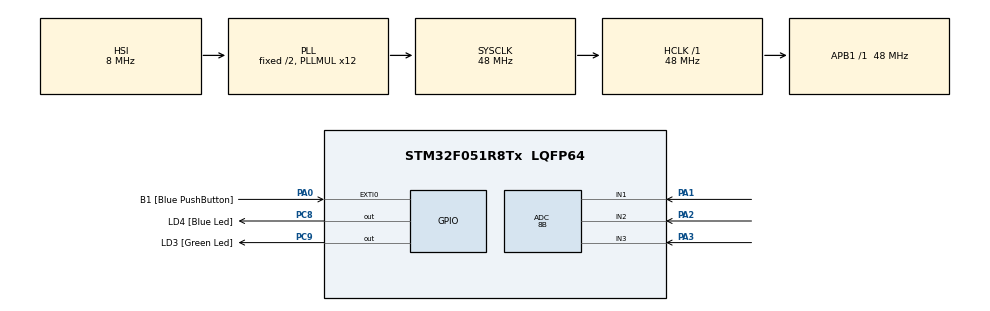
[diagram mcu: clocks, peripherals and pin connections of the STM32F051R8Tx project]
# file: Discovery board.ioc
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ADC.ClockPrescaler=ADC_CLOCK_SYNC_PCLK_DIV4
ADC.ContinuousConvMode=ENABLE
ADC.DMAContinuousRequests=ENABLE
ADC.DataAlign=ADC_DATAALIGN_RIGHT
ADC.DiscontinuousConvMode=DISABLE
ADC.EOCSelection=ADC_EOC_SINGLE_CONV
ADC.EnableAnalogWatchDog=false
ADC.ExternalTrigConv=ADC_SOFTWARE_START
ADC.ExternalTrigConvEdge=ADC_EXTERNALTRIGCONVEDGE_NONE
ADC.LowPowerAutoPowerOff=DISABLE
ADC.LowPowerAutoWait=DISABLE
ADC.Overrun=ADC_OVR_DATA_PRESERVED
ADC.Resolution=ADC_RESOLUTION_8B
ADC.SamplingTime=ADC_SAMPLETIME_71CYCLES_5
ADC.ScanConvMode=ADC_SCAN_DIRECTION_FORWARD
Dma.ADC.0.Direction=DMA_PERIPH_TO_MEMORY
Dma.ADC.0.Instance=DMA1_Channel1
Dma.ADC.0.MemDataAlignment=DMA_MDATAALIGN_BYTE
Dma.ADC.0.MemInc=DMA_MINC_ENABLE
Dma.ADC.0.Mode=DMA_CIRCULAR
Dma.ADC.0.PeriphDataAlignment=DMA_PDATAALIGN_BYTE
Dma.ADC.0.PeriphInc=DMA_PINC_DISABLE
Dma.ADC.0.Priority=DMA_PRIORITY_HIGH
Dma.Request0=ADC
Mcu.Family=STM32F0
Mcu.Name=STM32F051R8Tx
Mcu.Package=LQFP64
NVIC.DMA1_Channel1_IRQn=true\:0\:0\:false\:false\:true
PA0.GPIO_Label=B1 [Blue PushButton]
PA0.GPIO_ModeDefaultEXTI=GPIO_MODE_EVT_RISING
PA0.Signal=GPXTI0
PA1.Mode=IN1
PA1.Signal=ADC_IN1
PA13.GPIO_Label=SWDIO
PA13.Signal=SYS_SWDIO
PA14.GPIO_Label=SWCLK
PA14.Signal=SYS_SWCLK
PA2.Mode=IN2
PA2.Signal=ADC_IN2
PA3.Mode=IN3
PA3.Signal=ADC_IN3
PC8.GPIO_Label=LD4 [Blue Led]
PC8.Signal=GPIO_Output
PC9.GPIO_Label=LD3 [Green Led]
PC9.Signal=GPIO_Output
ProjectManager.HeapSize=0x200
ProjectManager.StackSize=0x400
ProjectManager.TargetToolchain=MDK-ARM V5
RCC.AHBFreq_Value=48000000
RCC.APB1Freq_Value=48000000
RCC.APB1TimFreq_Value=48000000
RCC.HCLKFreq_Value=48000000
RCC.PLLMUL=RCC_PLL_MUL12
RCC.SYSCLKFreq_VALUE=48000000
RCC.SYSCLKSource=RCC_SYSCLKSOURCE_PLLCLK
VP_RTC_VS_RTC_Activate.Mode=RTC_Enabled
board=STM32F0DISCOVERY

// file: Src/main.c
/**
  ******************************************************************************
  * File Name          : main.c
  * Description        : Main program body
  ******************************************************************************
  ** This notice applies to any and all portions of this file
  * that are not between comment pairs USER CODE BEGIN and
  * USER CODE END. Other portions of this file, whether
  * inserted by the user or by software development tools
  * are owned by their respective copyright owners.
  *
  * COPYRIGHT(c) 2017 STMicroelectronics
  *
  * Redistribution and use in source and binary forms, with or without modification,
  * are permitted provided that the following conditions are met:
  *   1. Redistributions of source code must retain the above copyright notice,
  *      this list of conditions and the following disclaimer.
  *   2. Redistributions in binary form must reproduce the above copyright notice,
  *      this list of conditions and the following disclaimer in the documentation
  *      and/or other materials provided with the distribution.
  *   3. Neither the name of STMicroelectronics nor the names of its contributors
  *      may be used to endorse or promote products derived from this software
  *      without specific prior written permission.
  *
  * THIS SOFTWARE IS PROVIDED BY THE COPYRIGHT HOLDERS AND CONTRIBUTORS "AS IS"
  * AND ANY EXPRESS OR IMPLIED WARRANTIES, INCLUDING, BUT NOT LIMITED TO, THE
  * IMPLIED WARRANTIES OF MERCHANTABILITY AND FITNESS FOR A PARTICULAR PURPOSE ARE
  * DISCLAIMED. IN NO EVENT SHALL THE COPYRIGHT HOLDER OR CONTRIBUTORS BE LIABLE
  * FOR ANY DIRECT, INDIRECT, INCIDENTAL, SPECIAL, EXEMPLARY, OR CONSEQUENTIAL
  * DAMAGES (INCLUDING, BUT NOT LIMITED TO, PROCUREMENT OF SUBSTITUTE GOODS OR
  * SERVICES; LOSS OF USE, DATA, OR PROFITS; OR BUSINESS INTERRUPTION) HOWEVER
  * CAUSED AND ON ANY THEORY OF LIABILITY, WHETHER IN CONTRACT, STRICT LIABILITY,
  * OR TORT (INCLUDING NEGLIGENCE OR OTHERWISE) ARISING IN ANY WAY OUT OF THE USE
  * OF THIS SOFTWARE, EVEN IF ADVISED OF THE POSSIBILITY OF SUCH DAMAGE.
  *
  ******************************************************************************
  */
#include "main.h"
#include "stm32f0xx_hal.h"

ADC_HandleTypeDef hadc;
DMA_HandleTypeDef hdma_adc;

RTC_HandleTypeDef hrtc;

/* USER CODE BEGIN PV */
/* Private variables ---------------------------------------------------------*/
unsigned ADC_Value[3];
int MeasurementNumber;
int i = 0;
int j = 0;
int V1 = 0;
int V2 = 0;
int V3 = 0;

/* USER CODE END PV */

void SystemClock_Config(void);
static void MX_GPIO_Init(void);
static void MX_DMA_Init(void);
static void MX_ADC_Init(void);
static void MX_RTC_Init(void);

/* USER CODE BEGIN PFP */
/* Private function prototypes -----------------------------------------------*/

/* USER CODE END PFP */

int main(void)
{

  /* USER CODE BEGIN 1 */
	memset((void*) ADC_Value, 0x00000000, 3); //sets the memory at ADC_raw to be zero, the word is specified
  /* USER CODE END 1 */

  /* MCU Configuration----------------------------------------------------------*/

  /* Reset of all peripherals, Initializes the Flash interface and the Systick. */
  HAL_Init();

  /* Configure the system clock */
  SystemClock_Config();

  /* Initialize all configured peripherals */
  MX_GPIO_Init();
  MX_DMA_Init();
  MX_ADC_Init();
  MX_RTC_Init();

  /* USER CODE BEGIN 2 */
	if (HAL_ADC_Start_DMA(&hadc, ADC_Value, 1) != HAL_OK) // calls the DMA ADC to begin and if it does not begin as expected , it will write an error
  {
    Error_Handler();
  }

	//HAL_ADC_Start_IT(&hadc);
	/* ^ Start_IT calls _HAL_ADC_ENABLE_IT() to enable the overrun and end of conversation interupts
			We call HAL_NVIC_EnableIRQ() it enables ADC ITQ interupt controller
			When ADC conversion completes, it sets EOC bit in the ADC_SR register
			EOC IT occurs  and the corresponding NVIC -> ISPR register is set
			ADC IT causes the ARM core to invoke the ADC_IQRHandler() function that reads the value of the ADC and calls HAL_ADC_ConvCpltCallback() */

  /* USER CODE END 2 */

  /* Infinite loop */
  /* USER CODE BEGIN WHILE */
  while (1)
  {
	int ON_G = ADC_Value[0];
	int OFF_G = 255 - ON_G;
	int ON_B = ADC_Value[1];
	int OFF_B = 255 - ON_B;
	int ON_BG = ADC_Value[2];
  int OFF_BG = 255 - ON_BG;

	HAL_GPIO_WritePin(GPIOC, GPIO_PIN_9, GPIO_PIN_SET);
		HAL_Delay(ON_G);
	HAL_GPIO_WritePin(GPIOC, GPIO_PIN_9, GPIO_PIN_RESET);
		HAL_Delay(OFF_G);
	HAL_GPIO_WritePin(GPIOC, GPIO_PIN_8, GPIO_PIN_SET);
		HAL_Delay(ON_B);
	HAL_GPIO_WritePin(GPIOC, GPIO_PIN_8, GPIO_PIN_RESET);
		HAL_Delay(OFF_B);
	HAL_GPIO_WritePin(GPIOC, GPIO_PIN_8, GPIO_PIN_SET);
	HAL_GPIO_WritePin(GPIOC, GPIO_PIN_9, GPIO_PIN_SET);
		HAL_Delay(ON_BG);
	HAL_GPIO_WritePin(GPIOC, GPIO_PIN_8, GPIO_PIN_RESET);
	HAL_GPIO_WritePin(GPIOC, GPIO_PIN_9, GPIO_PIN_RESET);
		HAL_Delay(OFF_BG);

		if (HAL_ADC_Start_DMA(&hadc, ADC_Value, 1) != HAL_OK) // calls the DMA ADC to begin and if it does not begin as expected , it will write an error
  {
    Error_Handler();
  }

  /* USER CODE END WHILE */

  }

}

/** System Clock Configuration
*/
void SystemClock_Config(void)
{

  RCC_OscInitTypeDef RCC_OscInitStruct;
  RCC_ClkInitTypeDef RCC_ClkInitStruct;
  RCC_PeriphCLKInitTypeDef PeriphClkInit;

    /**Initializes the CPU, AHB and APB busses clocks
    */
  RCC_OscInitStruct.OscillatorType = RCC_OSCILLATORTYPE_HSI|RCC_OSCILLATORTYPE_LSI;
  RCC_OscInitStruct.HSIState = RCC_HSI_ON;
  RCC_OscInitStruct.HSICalibrationValue = 16;
  RCC_OscInitStruct.LSIState = RCC_LSI_ON;
  RCC_OscInitStruct.PLL.PLLState = RCC_PLL_ON;
  RCC_OscInitStruct.PLL.PLLSource = RCC_PLLSOURCE_HSI;
  RCC_OscInitStruct.PLL.PLLMUL = RCC_PLL_MUL12;
  RCC_OscInitStruct.PLL.PREDIV = RCC_PREDIV_DIV1;
  if (HAL_RCC_OscConfig(&RCC_OscInitStruct) != HAL_OK)
  {
    _Error_Handler(__FILE__, __LINE__);
  }

    /**Initializes the CPU, AHB and APB busses clocks
    */
  RCC_ClkInitStruct.ClockType = RCC_CLOCKTYPE_HCLK|RCC_CLOCKTYPE_SYSCLK
                              |RCC_CLOCKTYPE_PCLK1;
  RCC_ClkInitStruct.SYSCLKSource = RCC_SYSCLKSOURCE_PLLCLK;
  RCC_ClkInitStruct.AHBCLKDivider = RCC_SYSCLK_DIV1;
  RCC_ClkInitStruct.APB1CLKDivider = RCC_HCLK_DIV1;

  if (HAL_RCC_ClockConfig(&RCC_ClkInitStruct, FLASH_LATENCY_1) != HAL_OK)
  {
    _Error_Handler(__FILE__, __LINE__);
  }

  PeriphClkInit.PeriphClockSelection = RCC_PERIPHCLK_RTC;
  PeriphClkInit.RTCClockSelection = RCC_RTCCLKSOURCE_LSI;
  if (HAL_RCCEx_PeriphCLKConfig(&PeriphClkInit) != HAL_OK)
  {
    _Error_Handler(__FILE__, __LINE__);
  }

    /**Configure the Systick interrupt time
    */
  HAL_SYSTICK_Config(HAL_RCC_GetHCLKFreq()/1000);

    /**Configure the Systick
    */
  HAL_SYSTICK_CLKSourceConfig(SYSTICK_CLKSOURCE_HCLK);

  /* SysTick_IRQn interrupt configuration */
  HAL_NVIC_SetPriority(SysTick_IRQn, 0, 0);
}

/* ADC init function */
static void MX_ADC_Init(void)
{

  ADC_ChannelConfTypeDef sConfig;

    /**Configure the global features of the ADC (Clock, Resolution, Data Alignment and number of conversion)
    */
  hadc.Instance = ADC1;
  hadc.Init.ClockPrescaler = ADC_CLOCK_SYNC_PCLK_DIV4;
  hadc.Init.Resolution = ADC_RESOLUTION_8B;
  hadc.Init.DataAlign = ADC_DATAALIGN_RIGHT;
  hadc.Init.ScanConvMode = ADC_SCAN_DIRECTION_FORWARD;
  hadc.Init.EOCSelection = ADC_EOC_SINGLE_CONV;
  hadc.Init.LowPowerAutoWait = DISABLE;
  hadc.Init.LowPowerAutoPowerOff = DISABLE;
  hadc.Init.ContinuousConvMode = DISABLE;
  hadc.Init.DiscontinuousConvMode = ENABLE;
  hadc.Init.ExternalTrigConv = ADC_SOFTWARE_START;
  hadc.Init.ExternalTrigConvEdge = ADC_EXTERNALTRIGCONVEDGE_NONE;
  hadc.Init.DMAContinuousRequests = ENABLE;
  hadc.Init.Overrun = ADC_OVR_DATA_PRESERVED;
  if (HAL_ADC_Init(&hadc) != HAL_OK)
  {
    _Error_Handler(__FILE__, __LINE__);
  }

    /**Configure for the selected ADC regular channel to be converted.
    */
  sConfig.Channel = ADC_CHANNEL_1;
  sConfig.Rank = ADC_RANK_CHANNEL_NUMBER;
  sConfig.SamplingTime = ADC_SAMPLETIME_239CYCLES_5;
  if (HAL_ADC_ConfigChannel(&hadc, &sConfig) != HAL_OK)
  {
    _Error_Handler(__FILE__, __LINE__);
  }

    /**Configure for the selected ADC regular channel to be converted.
    */
  sConfig.Channel = ADC_CHANNEL_2;
  if (HAL_ADC_ConfigChannel(&hadc, &sConfig) != HAL_OK)
  {
    _Error_Handler(__FILE__, __LINE__);
  }

    /**Configure for the selected ADC regular channel to be converted.
    */
  sConfig.Channel = ADC_CHANNEL_3;
  if (HAL_ADC_ConfigChannel(&hadc, &sConfig) != HAL_OK)
  {
    _Error_Handler(__FILE__, __LINE__);
  }

}

/* RTC init function */
static void MX_RTC_Init(void)
{

    /**Initialize RTC Only
    */
  hrtc.Instance = RTC;
  hrtc.Init.HourFormat = RTC_HOURFORMAT_24;
  hrtc.Init.AsynchPrediv = 127;
  hrtc.Init.SynchPrediv = 255;
  hrtc.Init.OutPut = RTC_OUTPUT_DISABLE;
  hrtc.Init.OutPutPolarity = RTC_OUTPUT_POLARITY_HIGH;
  hrtc.Init.OutPutType = RTC_OUTPUT_TYPE_OPENDRAIN;
  if (HAL_RTC_Init(&hrtc) != HAL_OK)
  {
    _Error_Handler(__FILE__, __LINE__);
  }

}

static void MX_DMA_Init(void)
{
  /* DMA controller clock enable */
  __HAL_RCC_DMA1_CLK_ENABLE();

  /* DMA interrupt init */
  /* DMA1_Channel1_IRQn interrupt configuration */
  HAL_NVIC_SetPriority(DMA1_Channel1_IRQn, 0, 0);
  HAL_NVIC_EnableIRQ(DMA1_Channel1_IRQn);

}

/** Configure pins as
        * Analog
        * Input
        * Output
        * EVENT_OUT
        * EXTI
*/
static void MX_GPIO_Init(void)
{

  GPIO_InitTypeDef GPIO_InitStruct;

  /* GPIO Ports Clock Enable */
  __HAL_RCC_GPIOA_CLK_ENABLE();
  __HAL_RCC_GPIOC_CLK_ENABLE();

  /*Configure GPIO pin Output Level */
  HAL_GPIO_WritePin(GPIOC, LD4_Pin|LD3_Pin, GPIO_PIN_RESET);

  /*Configure GPIO pin : B1_Pin */
  GPIO_InitStruct.Pin = B1_Pin;
  GPIO_InitStruct.Mode = GPIO_MODE_EVT_RISING;
  GPIO_InitStruct.Pull = GPIO_NOPULL;
  HAL_GPIO_Init(B1_GPIO_Port, &GPIO_InitStruct);

  /*Configure GPIO pins : LD4_Pin LD3_Pin */
  GPIO_InitStruct.Pin = LD4_Pin|LD3_Pin;
  GPIO_InitStruct.Mode = GPIO_MODE_OUTPUT_PP;
  GPIO_InitStruct.Pull = GPIO_NOPULL;
  GPIO_InitStruct.Speed = GPIO_SPEED_FREQ_LOW;
  HAL_GPIO_Init(GPIOC, &GPIO_InitStruct);

}

/* USER CODE BEGIN 4 */
void _Error_Handler(char * file, int line)
{
  /* USER CODE BEGIN Error_Handler_Debug */
  /* User can add his own implementation to report the HAL error return state */
	/**
  * @brief  This function is executed in case of error occurrence.
  * @param  None
  * @retval None
  */
  while(1)
  {
		;
  }
  /* USER CODE END Error_Handler_Debug */
}

void ADC_IRQHandler() 		// Handles ADC interupt requests
{
	;
	HAL_ADC_IRQHandler(&hadc);
}

void DMA1_CHANNEL1_IRQHandler() // hnades DMA interupt requests
{
	HAL_DMA_IRQHandler(&hdma_adc);
}

void HAL_ADC_ConvCpltCallback(ADC_HandleTypeDef* hadc) // ADC read value IT routine
{
	if(__HAL_ADC_GET_FLAG(hadc,ADC_FLAG_RDY))
	{

				if (i == 0)
				{
					ADC_Value[i] = HAL_ADC_GetValue(hadc);

					MeasurementNumber++;
					i++;
					if (__HAL_ADC_GET_FLAG(hadc,ADC_FLAG_EOSMP))
					{
						HAL_ADC_Start_DMA(hadc, ADC_Value, 1);
					}

				}

				else if (i == 1)
				{
					ADC_Value[i] = HAL_ADC_GetValue(hadc);

					MeasurementNumber++;
					i++;
					if (__HAL_ADC_GET_FLAG(hadc,ADC_FLAG_EOSMP))
					{
						HAL_ADC_Start_DMA(hadc, ADC_Value, 1);
					}
				}

				else if (i == 2)
				{
					ADC_Value[i] = HAL_ADC_GetValue(hadc);

					MeasurementNumber++;
					V1 = 3.3 * ADC_Value[0]/255;
					V2 = 3.3 * ADC_Value[1]/255;
					V3 = 3.3 * ADC_Value[2]/255;
					i = 0;

				}

		}

}
/* USER CODE END 4 */

/************************ (C) COPYRIGHT STMicroelectronics *****END OF FILE****/
